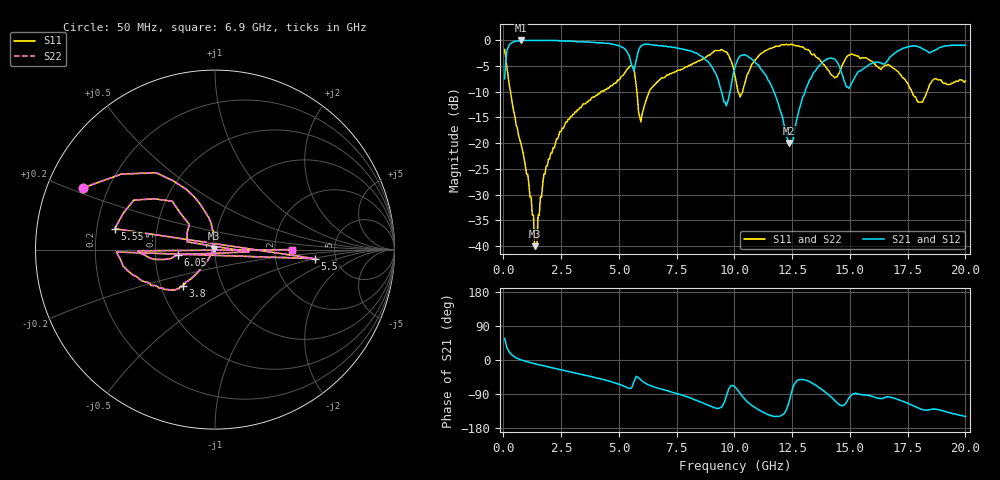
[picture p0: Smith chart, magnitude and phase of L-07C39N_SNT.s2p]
#	mhz	s	ma	r	50
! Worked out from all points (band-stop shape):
!   400 points, 50 MHz to 20 GHz, reference 50 ohm
!   highest |S21| = -0.09 dB at 750 MHz (marker M1); lowest = -20.0 dB at 12.35 GHz (marker M2)
!   |S21| within 3 dB of the highest: 126.9 MHz to 5.449 GHz (5.322 GHz wide, 191 % of centre); 16.8 GHz to end of sweep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
!   lowest |S11| = -40.0 dB at 1.35 GHz (marker M3), VSWR 1.02, Z = 49.2 + j0.547 ohm
!   |S11| at or under -10 dB: 303.5 MHz to 4.231 GHz (3.928 GHz wide, 173 % of centre); 5.776 GHz to 6.316 GHz (540.1 MHz wide, 8.93 % of centre); 17.68 GHz to 18.34 GHz (656.7 MHz wide, 3.65 % of centre)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
!   |S22| runs from -40.0 to -0.8 dB; largest |S21 - S12| = 0
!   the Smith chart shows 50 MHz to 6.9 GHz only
!   S11 on the Smith chart (normalised r, x): 50 MHz: 0.11, +0.22; 3.8 GHz: 0.65, -0.28; 5.5 GHz: 3.46, -0.51; 5.55 GHz: 0.28, +0.10; 6.05 GHz: 0.65, -0.04; 6.9 GHz: 2.51, +0.00
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50  0.81 154.8  0.42 57.2  0.42 57.2  0.81 154.8
750  0.1 95.3  0.99 0.6  0.99 0.6  0.1 95.3
1350  0.01 146.2  0.99 -9.8  0.99 -9.8  0.01 146.2
1950  0.07 -123.8  0.99 -18.4  0.99 -18.4  0.07 -123.8
3400  0.23 -130.8  0.96 -38.5  0.96 -38.5  0.23 -130.8
3800  0.27 -132.0  0.95 -43.9  0.95 -43.9  0.27 -132.0
5450  0.55 -178.6  0.7 -75.3  0.7 -75.3  0.55 -178.6
5500  0.56 -5.2  0.63 -74.5  0.63 -74.5  0.56 -5.2
5550  0.57 168.2  0.57 -73.8  0.57 -73.8  0.57 168.2
6050  0.21 -172.1  0.9 -57.9  0.9 -57.9  0.21 -172.1
6700  0.4 -176.1  0.88 -74.4  0.88 -74.4  0.4 -176.1
6850  0.43 -179.1  0.88 -77.1  0.88 -77.1  0.43 -179.1
6900  0.43 0.0  0.87 -77.9  0.87 -77.9  0.43 0.0
6950  0.43 179.2  0.87 -78.6  0.87 -78.6  0.43 179.2
7100  0.46 175.4  0.86 -81.3  0.86 -81.3  0.46 175.4
9000  0.74 127.7  0.56 -122.7  0.56 -122.7  0.74 127.7
10050  0.42 83.2  0.57 -72.6  0.57 -72.6  0.42 83.2
10850  0.62 131.4  0.62 -123.4  0.62 -123.4  0.62 131.4
12350  0.9 76.3  0.1 -114.1  0.1 -114.1  0.9 76.3
13350  0.72 43.7  0.44 -60.7  0.44 -60.7  0.72 43.7
16700  0.57 -6.3  0.67 -97.4  0.67 -97.4  0.57 -6.3
20000  0.4 -73.3  0.89 -149.0  0.89 -149.0  0.4 -73.3
